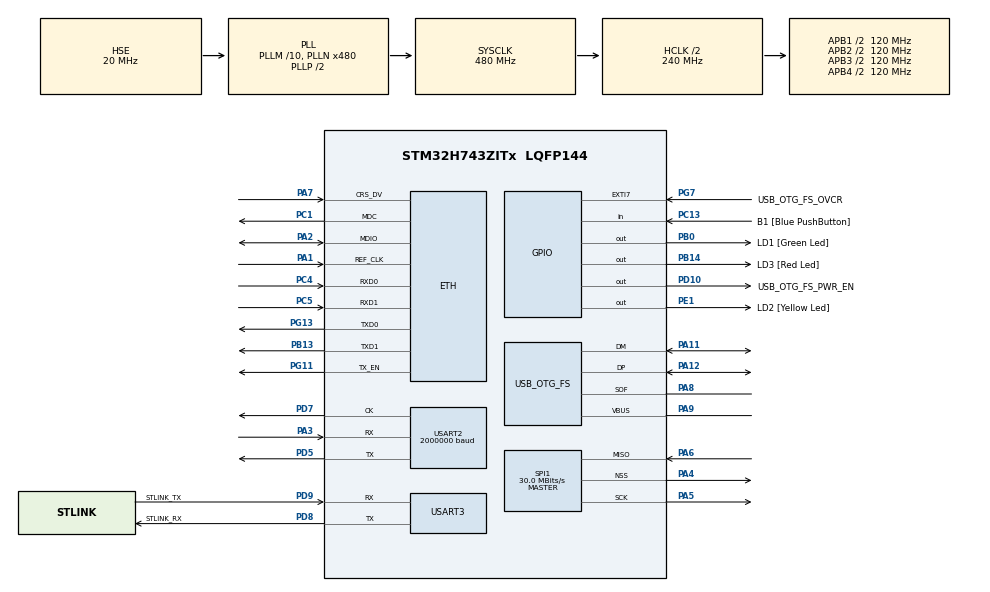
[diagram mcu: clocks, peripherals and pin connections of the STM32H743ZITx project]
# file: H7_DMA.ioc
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Dma.Request0=USART3_TX
Dma.Request1=USART2_TX
Dma.Request2=USART2_RX
Dma.Request3=SPI1_RX
Dma.SPI1_RX.3.Direction=DMA_PERIPH_TO_MEMORY
Dma.SPI1_RX.3.EventEnable=DISABLE
Dma.SPI1_RX.3.FIFOMode=DMA_FIFOMODE_DISABLE
Dma.SPI1_RX.3.Instance=DMA1_Stream3
Dma.SPI1_RX.3.MemDataAlignment=DMA_MDATAALIGN_BYTE
Dma.SPI1_RX.3.MemInc=DMA_MINC_ENABLE
Dma.SPI1_RX.3.Mode=DMA_NORMAL
Dma.SPI1_RX.3.PeriphDataAlignment=DMA_PDATAALIGN_BYTE
Dma.SPI1_RX.3.PeriphInc=DMA_PINC_DISABLE
Dma.SPI1_RX.3.Polarity=HAL_DMAMUX_REQ_GEN_RISING
Dma.SPI1_RX.3.Priority=DMA_PRIORITY_LOW
Dma.SPI1_RX.3.RequestNumber=1
Dma.SPI1_RX.3.SignalID=NONE
Dma.SPI1_RX.3.SyncEnable=DISABLE
Dma.SPI1_RX.3.SyncPolarity=HAL_DMAMUX_SYNC_NO_EVENT
Dma.SPI1_RX.3.SyncRequestNumber=1
Dma.SPI1_RX.3.SyncSignalID=NONE
Dma.USART2_RX.2.Direction=DMA_PERIPH_TO_MEMORY
Dma.USART2_RX.2.EventEnable=DISABLE
Dma.USART2_RX.2.FIFOMode=DMA_FIFOMODE_DISABLE
Dma.USART2_RX.2.Instance=DMA1_Stream2
Dma.USART2_RX.2.MemDataAlignment=DMA_MDATAALIGN_BYTE
Dma.USART2_RX.2.MemInc=DMA_MINC_ENABLE
Dma.USART2_RX.2.Mode=DMA_CIRCULAR
Dma.USART2_RX.2.PeriphDataAlignment=DMA_PDATAALIGN_BYTE
Dma.USART2_RX.2.PeriphInc=DMA_PINC_DISABLE
Dma.USART2_RX.2.Polarity=HAL_DMAMUX_REQ_GEN_RISING
Dma.USART2_RX.2.Priority=DMA_PRIORITY_LOW
Dma.USART2_RX.2.RequestNumber=1
Dma.USART2_RX.2.SignalID=NONE
Dma.USART2_RX.2.SyncEnable=DISABLE
Dma.USART2_RX.2.SyncPolarity=HAL_DMAMUX_SYNC_NO_EVENT
Dma.USART2_RX.2.SyncRequestNumber=1
Dma.USART2_RX.2.SyncSignalID=NONE
Dma.USART2_TX.1.Direction=DMA_MEMORY_TO_PERIPH
Dma.USART2_TX.1.EventEnable=DISABLE
Dma.USART2_TX.1.FIFOMode=DMA_FIFOMODE_DISABLE
Dma.USART2_TX.1.Instance=DMA1_Stream1
Dma.USART2_TX.1.MemDataAlignment=DMA_MDATAALIGN_BYTE
Dma.USART2_TX.1.MemInc=DMA_MINC_ENABLE
Dma.USART2_TX.1.Mode=DMA_NORMAL
Dma.USART2_TX.1.PeriphDataAlignment=DMA_PDATAALIGN_BYTE
Dma.USART2_TX.1.PeriphInc=DMA_PINC_DISABLE
Dma.USART2_TX.1.Polarity=HAL_DMAMUX_REQ_GEN_RISING
Dma.USART2_TX.1.Priority=DMA_PRIORITY_LOW
Dma.USART2_TX.1.RequestNumber=1
Dma.USART2_TX.1.SignalID=NONE
Dma.USART2_TX.1.SyncEnable=DISABLE
Dma.USART2_TX.1.SyncPolarity=HAL_DMAMUX_SYNC_NO_EVENT
Dma.USART2_TX.1.SyncRequestNumber=1
Dma.USART2_TX.1.SyncSignalID=NONE
Dma.USART3_TX.0.Direction=DMA_MEMORY_TO_PERIPH
Dma.USART3_TX.0.EventEnable=DISABLE
Dma.USART3_TX.0.FIFOMode=DMA_FIFOMODE_DISABLE
Dma.USART3_TX.0.Instance=DMA1_Stream0
Dma.USART3_TX.0.MemDataAlignment=DMA_MDATAALIGN_BYTE
Dma.USART3_TX.0.MemInc=DMA_MINC_ENABLE
Dma.USART3_TX.0.Mode=DMA_NORMAL
Dma.USART3_TX.0.PeriphDataAlignment=DMA_PDATAALIGN_BYTE
Dma.USART3_TX.0.PeriphInc=DMA_PINC_DISABLE
Dma.USART3_TX.0.Polarity=HAL_DMAMUX_REQ_GEN_RISING
Dma.USART3_TX.0.Priority=DMA_PRIORITY_LOW
Dma.USART3_TX.0.RequestNumber=1
Dma.USART3_TX.0.SignalID=NONE
Dma.USART3_TX.0.SyncEnable=DISABLE
Dma.USART3_TX.0.SyncPolarity=HAL_DMAMUX_SYNC_NO_EVENT
Dma.USART3_TX.0.SyncRequestNumber=1
Dma.USART3_TX.0.SyncSignalID=NONE
ETH.MediaInterface=HAL_ETH_RMII_MODE
Mcu.Family=STM32H7
Mcu.Name=STM32H743ZITx
Mcu.Package=LQFP144
NVIC.DMA1_Stream0_IRQn=true\:0\:0\:false\:false\:true\:false\:true
NVIC.DMA1_Stream1_IRQn=true\:0\:0\:false\:false\:true\:false\:true
NVIC.DMA1_Stream2_IRQn=true\:0\:0\:false\:false\:true\:false\:true
NVIC.DMA1_Stream3_IRQn=true\:0\:0\:false\:false\:true\:false\:true
NVIC.PriorityGroup=NVIC_PRIORITYGROUP_4
NVIC.SPI1_IRQn=true\:0\:0\:false\:false\:true\:false\:true
NVIC.USART2_IRQn=true\:0\:0\:false\:false\:true\:true\:true
NVIC.USART3_IRQn=true\:0\:0\:false\:false\:true\:true\:true
PA1.Mode=RMII
PA1.Signal=ETH_REF_CLK
PA11.Mode=Device_Only
PA11.Signal=USB_OTG_FS_DM
PA12.Mode=Device_Only
PA12.Signal=USB_OTG_FS_DP
PA2.Mode=RMII
PA2.Signal=ETH_MDIO
PA3.Mode=Synchronous
PA3.Signal=USART2_RX
PA4.Mode=NSS_Signal_Hard_Output
PA4.Signal=SPI1_NSS
PA5.Mode=RX_Only_Simplex_Unidirect_Master
PA5.Signal=SPI1_SCK
PA6.Mode=RX_Only_Simplex_Unidirect_Master
PA6.Signal=SPI1_MISO
PA7.Mode=RMII
PA7.Signal=ETH_CRS_DV
PA8.Mode=Activate_SOF_FS
PA8.Signal=USB_OTG_FS_SOF
PA9.Mode=Activate_VBUS
PA9.Signal=USB_OTG_FS_VBUS
PB0.GPIO_Label=LD1 [Green Led]
PB0.Signal=GPIO_Output
PB13.Mode=RMII
PB13.Signal=ETH_TXD1
PB14.GPIO_Label=LD3 [Red Led]
PB14.Signal=GPIO_Output
PC1.Mode=RMII
PC1.Signal=ETH_MDC
PC13.GPIO_Label=B1 [Blue PushButton]
PC13.Signal=GPIO_Input
PC14-OSC32_IN\ (OSC32_IN).Mode=LSE-External-Oscillator
PC14-OSC32_IN\ (OSC32_IN).Signal=RCC_OSC32_IN
PC15-OSC32_OUT\ (OSC32_OUT).Mode=LSE-External-Oscillator
PC15-OSC32_OUT\ (OSC32_OUT).Signal=RCC_OSC32_OUT
PC4.Mode=RMII
PC4.Signal=ETH_RXD0
PC5.Mode=RMII
PC5.Signal=ETH_RXD1
PD10.GPIO_Label=USB_OTG_FS_PWR_EN
PD10.Signal=GPIO_Output
PD5.Mode=Synchronous
PD5.Signal=USART2_TX
PD7.Mode=Synchronous
PD7.Signal=USART2_CK
PD8.GPIO_Label=STLINK_RX
PD8.Mode=Asynchronous
PD8.Signal=USART3_TX
PD9.GPIO_Label=STLINK_TX
PD9.Mode=Asynchronous
PD9.Signal=USART3_RX
PE1.GPIO_Label=LD2 [Yellow Led]
PE1.Signal=GPIO_Output
PG11.Mode=RMII
PG11.Signal=ETH_TX_EN
PG13.Mode=RMII
PG13.Signal=ETH_TXD0
PG7.GPIO_Label=USB_OTG_FS_OVCR
PG7.Signal=GPXTI7
PH0-OSC_IN\ (PH0).Mode=HSE-External-Clock-Source
PH0-OSC_IN\ (PH0).Signal=RCC_OSC_IN
PH1-OSC_OUT\ (PH1).Signal=RCC_OSC_OUT
ProjectManager.HeapSize=0x200
ProjectManager.StackSize=0x400
ProjectManager.TargetToolchain=Makefile
RCC.ADCFreq_Value=60000000
RCC.APB1Freq_Value=120000000
RCC.APB2Freq_Value=120000000
RCC.APB3Freq_Value=120000000
RCC.APB4Freq_Value=120000000
RCC.CortexFreq_Value=480000000
RCC.D1PPRE=RCC_APB3_DIV2
RCC.D2PPRE1=RCC_APB1_DIV2
RCC.D2PPRE2=RCC_APB2_DIV2
RCC.D3PPRE=RCC_APB4_DIV2
RCC.DIVM1=10
RCC.DIVM2=20
RCC.DIVM3=63
RCC.DIVN1=480
RCC.DIVN2=240
RCC.DIVP2=4
RCC.DIVP3=4
RCC.DIVQ1=20
RCC.DIVQ3=4
RCC.HCLKFreq_Value=240000000
RCC.HPRE=RCC_HCLK_DIV2
RCC.HSE_VALUE=20000000
RCC.PLLFRACN=0
RCC.PLLSourceVirtual=RCC_PLLSOURCE_HSE
RCC.SPI123CLockSelection=RCC_SPI123CLKSOURCE_PLL2
RCC.SYSCLKFreq_VALUE=480000000
RCC.SYSCLKSource=RCC_SYSCLKSOURCE_PLLCLK
RCC.USART234578CLockSelection=RCC_USART234578CLKSOURCE_HSI
RCC.USBFreq_Value=48000000
SPI1.BaudRatePrescaler=SPI_BAUDRATEPRESCALER_2
SPI1.CalculateBaudRate=30.0 MBits/s
SPI1.DataSize=SPI_DATASIZE_8BIT
SPI1.Direction=SPI_DIRECTION_2LINES_RXONLY
SPI1.Mode=SPI_MODE_MASTER
SPI1.TIMode=SPI_TIMODE_DISABLE
SPI1.VirtualNSS=VM_NSSHARD
SPI1.VirtualType=VM_MASTER
TIM2.Prescaler=240-1
TIM5.ClockDivision=TIM_CLOCKDIVISION_DIV1
TIM5.Prescaler=48000-1
USART2.BaudRate=2000000
USART2.VirtualMode-Synchronous=VM_SYNC
USART3.VirtualMode-Asynchronous=VM_ASYNC
USB_OTG_FS.VirtualMode=Device_Only
VP_TIM2_VS_ClockSourceINT.Mode=Internal
VP_TIM5_VS_ClockSourceINT.Mode=Internal
board=NUCLEO-H743ZI2

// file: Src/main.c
/* USER CODE BEGIN Header */
/**
 ******************************************************************************
 * @file           : main.c
 * @brief          : Main program body
 ******************************************************************************
 * @attention
 *
 * <h2><center>&copy; Copyright (c) 2020 STMicroelectronics.
 * All rights reserved.</center></h2>
 *
 * This software component is licensed by ST under BSD 3-Clause license,
 * the "License"; You may not use this file except in compliance with the
 * License. You may obtain a copy of the License at:
 *                        opensource.org/licenses/BSD-3-Clause
 *
 ******************************************************************************
 */
/* USER CODE END Header */
#include "main.h"
#include "dma.h"
#include "eth.h"
#include "spi.h"
#include "tim.h"
#include "usart.h"
#include "usb_otg.h"
#include "gpio.h"

/* USER CODE BEGIN Includes */
// #include <string>
#include <stdio.h>
#include <string.h>
#include <string>
/* USER CODE END Includes */

/* USER CODE BEGIN PD */

#define SPI_BUFFER_LENGTH 10
/* USER CODE END PD */

/* USER CODE BEGIN PV */

DMA_BUFFER char _char_bufferDMA1[200];                      // DMA Buffer
DMA_BUFFER char _char_bufferDMA2[200];                      // DMA Buffer2
DMA_BUFFER char _spi_buffer_TX[SPI_BUFFER_LENGTH];          // DMA Buffer2
DMA_BUFFER volatile char _spi_buffer_RX[SPI_BUFFER_LENGTH]; // DMA Buffer2

uint8_t _spi_rx_flag = 0;
uint8_t _print_tx_flag = 0;

/* USER CODE END PV */

void SystemClock_Config(void);

int main(void)
{

  /* MCU Configuration--------------------------------------------------------*/

  /* Reset of all peripherals, Initializes the Flash interface and the Systick. */
  HAL_Init();

  /* Configure the system clock */
  SystemClock_Config();

  /* Initialize all configured peripherals */
  MX_GPIO_Init();
  MX_DMA_Init();
  MX_ETH_Init();
  MX_USART3_UART_Init();
  MX_USB_OTG_FS_PCD_Init();
  MX_TIM2_Init();
  MX_TIM5_Init();
  MX_USART2_Init();
  MX_SPI1_Init();
  /* USER CODE BEGIN 2 */

    // callbacks for HAL_UART_Transmit_IT function

    // start timers
    HAL_TIM_Base_Start(&htim2);
    HAL_TIM_Base_Start(&htim5);

    memset(_spi_buffer_TX, 0b01010101, SPI_BUFFER_LENGTH);

    uint32_t counter = 0;

    // HAL_SPI_Transmit_DMA(&hspi1, (uint8_t *)_spi_buffer_TX, SPI_BUFFER_LENGTH);

    HAL_SPI_Receive_DMA(&hspi1, (uint8_t *)_spi_buffer_RX, SPI_BUFFER_LENGTH);
  /* USER CODE END 2 */

  /* Infinite loop */
  /* USER CODE BEGIN WHILE */
    while (1) {

        static uint32_t timerMicros = 0;
        static uint32_t timerMillis = 0;

        // once every second
        if (__HAL_TIM_GetCounter(&htim2) - timerMicros > 1000000) {

            timerMicros = __HAL_TIM_GetCounter(&htim2);
            timerMillis = __HAL_TIM_GetCounter(&htim2) / 1000;

            // prepare first string
            std::string output = "Timer1: ";
            output.append(std::to_string(timerMicros));
            output.append(", Timer2: ");
            output.append(std::to_string(timerMillis));
            output.append("\r\n");
            strcpy(_char_bufferDMA1, output.data());
            HAL_GPIO_TogglePin(LD1_GPIO_Port, LD1_Pin);

            // prepare second string
            strcpy(_char_bufferDMA2, "DMA 2 online\r\n");

            print((uint8_t *)_char_bufferDMA1, output.size());

            // print((uint8_t *)_char_bufferDMA2, strlen(_char_bufferDMA2));

            // test for callbacks
            // HAL_USART_Transmit_DMA(&husart2, (uint8_t *)_char_bufferDMA2, strlen(_char_bufferDMA2));

            // HAL_Delay(100);
            // send SPI

            // print((uint8_t *)_spi_buffer_TX, SPI_BUFFER_LENGTH);

            // HAL_Delay(200);
            // HAL_SPI_Receive_DMA(&hspi1, (uint8_t *)_spi_buffer_RX, SPI_BUFFER_LENGTH);
        }

        if (_spi_rx_flag) {
            _spi_rx_flag = 0;
            if (_spi_buffer_RX[0] == 0b11001100) {
                HAL_GPIO_TogglePin(LD3_GPIO_Port, LD3_Pin);
                counter++;

                std::string output = "SUCCESS: ";
                output.append(std::to_string(counter));
                output.append("\r\n");
                strcpy(_char_bufferDMA1, output.data());
                _spi_buffer_RX[0] = 0;
                print((uint8_t *)_char_bufferDMA1, output.size());
            }
            HAL_SPI_Receive_DMA(&hspi1, (uint8_t *)_spi_buffer_RX, SPI_BUFFER_LENGTH);
        }

    /* USER CODE END WHILE */

    }
}

void SystemClock_Config(void)
{
  RCC_OscInitTypeDef RCC_OscInitStruct = {0};
  RCC_ClkInitTypeDef RCC_ClkInitStruct = {0};
  RCC_PeriphCLKInitTypeDef PeriphClkInitStruct = {0};

  /** Supply configuration update enable
  */
  HAL_PWREx_ConfigSupply(PWR_LDO_SUPPLY);
  /** Configure the main internal regulator output voltage
  */
  __HAL_PWR_VOLTAGESCALING_CONFIG(PWR_REGULATOR_VOLTAGE_SCALE0);

  while(!__HAL_PWR_GET_FLAG(PWR_FLAG_VOSRDY)) {}
  /** Macro to configure the PLL clock source
  */
  __HAL_RCC_PLL_PLLSOURCE_CONFIG(RCC_PLLSOURCE_HSE);
  /** Initializes the RCC Oscillators according to the specified parameters
  * in the RCC_OscInitTypeDef structure.
  */
  RCC_OscInitStruct.OscillatorType = RCC_OSCILLATORTYPE_HSE;
  RCC_OscInitStruct.HSEState = RCC_HSE_BYPASS;
  RCC_OscInitStruct.PLL.PLLState = RCC_PLL_ON;
  RCC_OscInitStruct.PLL.PLLSource = RCC_PLLSOURCE_HSE;
  RCC_OscInitStruct.PLL.PLLM = 10;
  RCC_OscInitStruct.PLL.PLLN = 480;
  RCC_OscInitStruct.PLL.PLLP = 2;
  RCC_OscInitStruct.PLL.PLLQ = 20;
  RCC_OscInitStruct.PLL.PLLR = 2;
  RCC_OscInitStruct.PLL.PLLRGE = RCC_PLL1VCIRANGE_1;
  RCC_OscInitStruct.PLL.PLLVCOSEL = RCC_PLL1VCOWIDE;
  RCC_OscInitStruct.PLL.PLLFRACN = 0;
  if (HAL_RCC_OscConfig(&RCC_OscInitStruct) != HAL_OK)
  {
    Error_Handler();
  }
  /** Initializes the CPU, AHB and APB buses clocks
  */
  RCC_ClkInitStruct.ClockType = RCC_CLOCKTYPE_HCLK|RCC_CLOCKTYPE_SYSCLK
                              |RCC_CLOCKTYPE_PCLK1|RCC_CLOCKTYPE_PCLK2
                              |RCC_CLOCKTYPE_D3PCLK1|RCC_CLOCKTYPE_D1PCLK1;
  RCC_ClkInitStruct.SYSCLKSource = RCC_SYSCLKSOURCE_PLLCLK;
  RCC_ClkInitStruct.SYSCLKDivider = RCC_SYSCLK_DIV1;
  RCC_ClkInitStruct.AHBCLKDivider = RCC_HCLK_DIV2;
  RCC_ClkInitStruct.APB3CLKDivider = RCC_APB3_DIV2;
  RCC_ClkInitStruct.APB1CLKDivider = RCC_APB1_DIV2;
  RCC_ClkInitStruct.APB2CLKDivider = RCC_APB2_DIV2;
  RCC_ClkInitStruct.APB4CLKDivider = RCC_APB4_DIV2;

  if (HAL_RCC_ClockConfig(&RCC_ClkInitStruct, FLASH_LATENCY_4) != HAL_OK)
  {
    Error_Handler();
  }
  PeriphClkInitStruct.PeriphClockSelection = RCC_PERIPHCLK_USART3|RCC_PERIPHCLK_USART2
                              |RCC_PERIPHCLK_SPI1|RCC_PERIPHCLK_USB;
  PeriphClkInitStruct.PLL2.PLL2M = 20;
  PeriphClkInitStruct.PLL2.PLL2N = 200;
  PeriphClkInitStruct.PLL2.PLL2P = 2;
  PeriphClkInitStruct.PLL2.PLL2Q = 2;
  PeriphClkInitStruct.PLL2.PLL2R = 2;
  PeriphClkInitStruct.PLL2.PLL2RGE = RCC_PLL2VCIRANGE_0;
  PeriphClkInitStruct.PLL2.PLL2VCOSEL = RCC_PLL2VCOWIDE;
  PeriphClkInitStruct.PLL2.PLL2FRACN = 0;
  PeriphClkInitStruct.Spi123ClockSelection = RCC_SPI123CLKSOURCE_PLL2;
  PeriphClkInitStruct.Usart234578ClockSelection = RCC_USART234578CLKSOURCE_D2PCLK1;
  PeriphClkInitStruct.UsbClockSelection = RCC_USBCLKSOURCE_PLL;
  if (HAL_RCCEx_PeriphCLKConfig(&PeriphClkInitStruct) != HAL_OK)
  {
    Error_Handler();
  }
  /** Enable USB Voltage detector
  */
  HAL_PWREx_EnableUSBVoltageDetector();
}

/* USER CODE BEGIN 4 */

void print(uint8_t *str, uint16_t size) {
    HAL_UART_Transmit(&huart3, str, size, 100);
}

// example callbacks for DMA transfer of data
void HAL_UART_TxCpltCallback(UART_HandleTypeDef *huart) {
    if (huart->Instance == huart3.Instance) {
        // toggle pin to show callback is working
        _print_tx_flag = 0;
    }
}

void HAL_UART_TxHalfCpltCallback(UART_HandleTypeDef *huart) {
    if (huart->Instance == huart3.Instance) {
        // do sth
    }
}

void HAL_USART_TxCpltCallback(USART_HandleTypeDef *husart) {
    if (husart->Instance == husart2.Instance) {

        // do sth
    }
}

void HAL_USART_RxCpltCallback(USART_HandleTypeDef *husart) {
    if (husart->Instance == husart2.Instance) {
        // do sth
    }
}

void HAL_SPI_RxCpltCallback(SPI_HandleTypeDef *hspi) {
    if (hspi->Instance == hspi1.Instance) {
        _spi_rx_flag = 1;
        HAL_GPIO_TogglePin(LD2_GPIO_Port, LD2_Pin);
        // HAL_SPI_Transmit_DMA(&hspi1, (uint8_t *)_spi_buffer_TX, SPI_BUFFER_LENGTH);
    }
}

void HAL_SPI_TxCpltCallback(SPI_HandleTypeDef *hspi) {
    if (hspi->Instance == hspi1.Instance) {
        // toggle pin to show callback is working

        // HAL_SPI_Receive_DMA(&hspi1, (uint8_t *)_spi_buffer_RX, SPI_BUFFER_LENGTH);
    }
}
/* USER CODE END 4 */

void Error_Handler(void)
{
}

/************************ (C) COPYRIGHT STMicroelectronics *****END OF FILE****/
